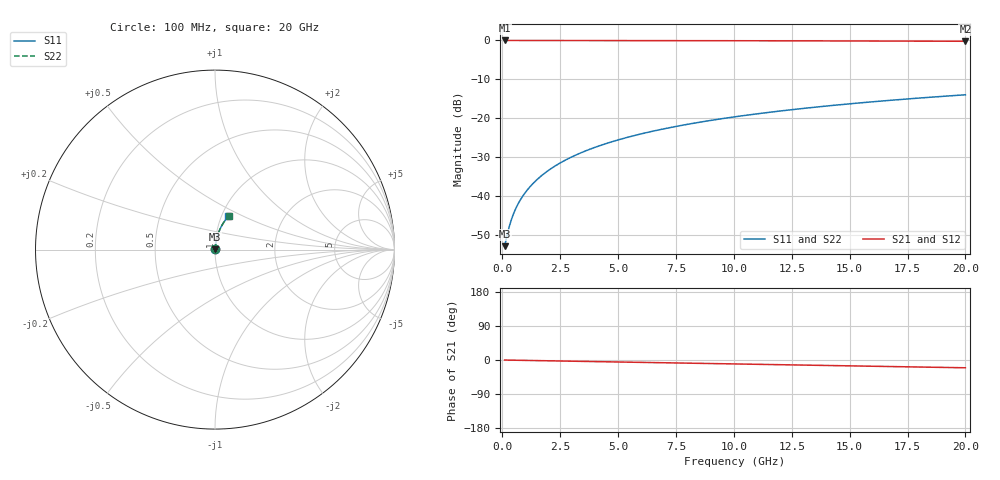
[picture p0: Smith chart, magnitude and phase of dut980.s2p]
! Touchstone file exported from HFSS 2026.1.0
!  File:  C:/ffzhzh/LocalFiles/Ansys_Project_Files/temp_train_TMRDL_980_1783159186_43440.aedt
!  Generated:  06:01:01 PM Jul  4, 2026
!  Design:  TMRDL
!  Project:  temp_train_TMRDL_980_1783159186_43440
! Variables:
!  h_bsmrdl = 2um
!  h_ox = 20um
!  h_rdl = 5um
!  h_sub = 80um
!  h_tmrdl = 2.11um
!  h_tsv = 80um
!  h_via = 3um
!  l_bsmrdl = 300um
!  l_sub = 655.79um
!  l_tmrdl = 255.79um
!  m_sub = 200um
!  pitch = 54.22um
!  r_tsv = 6um
!  s_tmrdl = 10um
!  w_bsmrdl = 18um
!  w_sub = 500um
!  w_tmrdl = 28.71um
!  x_tsv_center1 = 270.145um
!  x_tsv_center2 = 588.145um
!  x_tsv_center3 = 872.645um
!  x_tsv_center4 = 1190.645um
!  x_tsv_center5 = 1475.145um
!  x_tsv_center6 = 1793.145um
# GHz S MA R 50.000000
! Terminal data exported
! Port[1] = TM_RDL1_1_T1
! Port[2] = TM_RDL1_1_T2
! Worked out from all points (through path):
!   200 points, 100 MHz to 20 GHz, reference 50 ohm
!   highest |S21| = -0.02 dB at 100 MHz (marker M1); lowest = -0.2 dB at 20 GHz (marker M2)
!   group delay of S21, straight-line fit = 2.85 ps
!   lowest |S11| = -52.9 dB at 100 MHz (marker M3), VSWR 1.00, Z = 50.2 + j0.118 ohm
!   |S11| at or under -10 dB: start of sweep to end of sweep
!   |S22| runs from -52.9 to -14.0 dB; largest |S21 - S12| = 3e-15
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0.1  0.002274 31.2  0.9981 -0.1  0.9981 -0.1  0.002274 31.2
! Gamma 0 0 0 0
! Port Impedance 50 0 50 0
0.2  0.00308 49.3  0.998 -0.2  0.998 -0.2  0.00308 49.3
0.3  0.004049 58.8  0.9979 -0.3  0.9979 -0.3  0.004049 58.8
0.4  0.005064 64.3  0.9978 -0.4  0.9978 -0.4  0.005064 64.3
0.5  0.006086 67.8  0.9977 -0.5  0.9977 -0.5  0.006086 67.8
0.6  0.007107 70.4  0.9977 -0.7  0.9977 -0.7  0.007107 70.4
0.8  0.009142 73.7  0.9975 -0.9  0.9975 -0.9  0.009142 73.7
1.1  0.0122 76.8  0.9974 -1.2  0.9974 -1.2  0.0122 76.8
1.3  0.01424 78.2  0.9973 -1.4  0.9973 -1.4  0.01424 78.2
1.6  0.01733 79.5  0.9972 -1.7  0.9972 -1.7  0.01733 79.5
2.1  0.0225 80.9  0.997 -2.2  0.997 -2.2  0.0225 80.9
2.7  0.02874 81.6  0.9968 -2.8  0.9968 -2.8  0.02874 81.6
3.5  0.03707 81.9  0.9965 -3.7  0.9965 -3.7  0.03707 81.9
4.2  0.04436 81.8  0.9961 -4.4  0.9961 -4.4  0.04436 81.8
5  0.05267 81.5  0.9956 -5.2  0.9956 -5.2  0.05267 81.5
5.9  0.062 80.9  0.995 -6.2  0.995 -6.2  0.062 80.9
6.8  0.07128 80.3  0.9942 -7.1  0.9942 -7.1  0.07129 80.3
8.3  0.08666 79.1  0.9928 -8.7  0.9928 -8.7  0.08666 79.0
10.1  0.1049 77.5  0.9907 -10.5  0.9907 -10.5  0.1049 77.4
13.4  0.1377 74.3  0.9862 -13.9  0.9862 -13.9  0.1377 74.3
16.7  0.1695 71.2  0.9807 -17.2  0.9807 -17.2  0.1695 71.1
20  0.2001 68.0  0.9744 -20.5  0.9744 -20.5  0.2001 67.9
